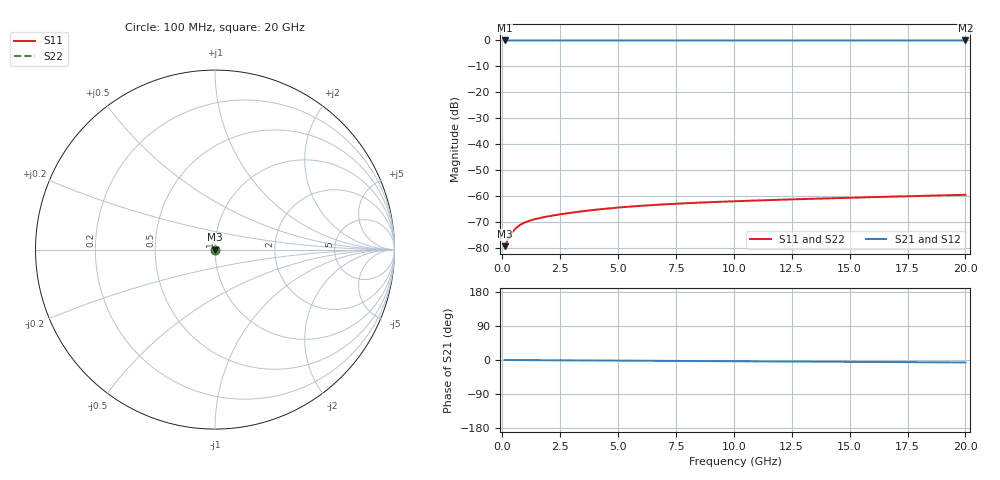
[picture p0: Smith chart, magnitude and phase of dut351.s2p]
! Touchstone file exported from HFSS 2026.1.0
!  File:  C:/ffzhzh/LocalFiles/Ansys_Project_Files/temp_train_TSV_351_1783019114_53980.aedt
!  Generated:  03:06:37 AM Jul  3, 2026
!  Design:  TSV
!  Project:  temp_train_TSV_351_1783019114_53980
! Variables:
!  h_bsmrdl = 2um
!  h_ox = 20um
!  h_rdl = 5um
!  h_sub = 63.04um
!  h_tmrdl = 5um
!  h_tsv = 63.04um
!  h_via = 3um
!  l_bsmrdl = 300um
!  l_sub = 420.88um
!  l_tmrdl = 200um
!  m_sub = 200um
!  pitch = 41.84um
!  r_tsv = 10.44um
!  s_tmrdl = 10um
!  w_bsmrdl = 18um
!  w_sub = 500um
!  w_tmrdl = 12um
!  x_tsv_center1 = 206um
!  x_tsv_center2 = 524um
!  x_tsv_center3 = 736um
!  x_tsv_center4 = 1054um
!  x_tsv_center5 = 1266um
!  x_tsv_center6 = 1584um
# GHz S MA R 50.000000
! Terminal data exported
! Port[1] = TSV1_1_T1
! Port[2] = TSV1_1_T2
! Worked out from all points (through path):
!   200 points, 100 MHz to 20 GHz, reference 50 ohm
!   highest |S21| = 0.00 dB at 100 MHz (marker M1); lowest = 0.0 dB at 20 GHz (marker M2)
!   lowest |S11| = -79.4 dB at 100 MHz (marker M3), VSWR 1.00, Z = 50 + j0.0036 ohm
!   |S11| at or under -10 dB: start of sweep to end of sweep
!   |S22| runs from -79.4 to -59.6 dB; largest |S21 - S12| = 4.2e-15
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0.1  0.0001074 19.6  0.9999 -0.0  0.9999 -0.0  0.0001074 19.6
! Gamma 0 0 0 0
! Port Impedance 50 0 50 0
0.3  0.0001608 37.8  0.9999 -0.1  0.9999 -0.1  0.0001608 37.8
0.4  0.0001902 40.1  0.9999 -0.1  0.9999 -0.1  0.0001902 40.1
0.5  0.0002173 40.5  0.9998 -0.2  0.9998 -0.2  0.0002173 40.5
0.6  0.0002414 40.1  0.9998 -0.2  0.9998 -0.2  0.0002414 40.2
0.7  0.0002625 39.4  0.9998 -0.2  0.9998 -0.2  0.0002625 39.4
0.8  0.0002809 38.6  0.9998 -0.3  0.9998 -0.3  0.0002809 38.6
1  0.0003112 36.9  0.9998 -0.3  0.9998 -0.3  0.0003112 36.9
1.2  0.0003354 35.7  0.9997 -0.4  0.9997 -0.4  0.0003354 35.7
1.4  0.0003557 34.7  0.9997 -0.5  0.9997 -0.5  0.0003558 34.7
1.9  0.0003979 33.3  0.9997 -0.6  0.9997 -0.6  0.000398 33.3
2.6  0.000449 32.4  0.9996 -0.9  0.9996 -0.9  0.000449 32.4
3.5  0.0005091 31.1  0.9996 -1.1  0.9996 -1.1  0.0005091 31.1
4.2  0.000552 29.9  0.9995 -1.4  0.9995 -1.4  0.0005521 29.9
5  0.0005966 28.3  0.9995 -1.6  0.9995 -1.6  0.0005966 28.3
5.9  0.0006411 26.3  0.9994 -1.9  0.9994 -1.9  0.0006411 26.3
6.8  0.0006802 24.2  0.9994 -2.2  0.9994 -2.2  0.0006802 24.2
8.3  0.0007359 21.0  0.9993 -2.7  0.9993 -2.7  0.000736 20.9
10.1  0.0007923 17.3  0.9993 -3.3  0.9993 -3.3  0.0007925 17.3
13.4  0.000882 11.1  0.9992 -4.3  0.9992 -4.3  0.0008822 11.1
16.7  0.0009674 4.9  0.9991 -5.4  0.9991 -5.4  0.0009678 4.9
20  0.001052 -2.0  0.9989 -6.5  0.9989 -6.5  0.001053 -2.0
